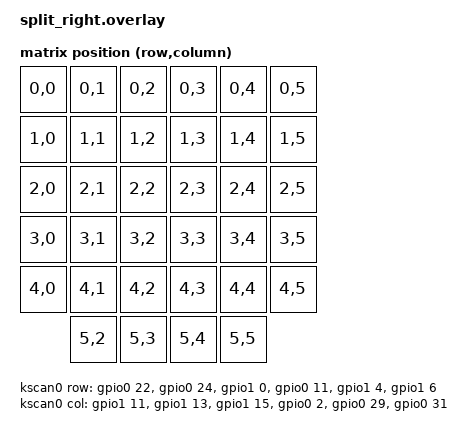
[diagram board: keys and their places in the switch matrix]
/ {
  chosen {
    zmk,kscan            = &kscan0;
    zmk,matrix-transform = &right_transform;
  };

  kscan0: kscan {
    compatible = "zmk,kscan-gpio-matrix";

    /* aceleași row/col ca la stânga */
    row-gpios = < &gpio0 22 &gpio0 24 &gpio1 0 &gpio0 11 &gpio1 4 &gpio1 6 >;
    col-gpios = < &gpio1 11 &gpio1 13 &gpio1 15 &gpio0 2 &gpio0 29 &gpio0 31 >;
    diode-direction     = COL2ROW;
    debounce-press-ms   = <1>;
    debounce-release-ms = <5>;
  };

  right_transform: matrix-transform {
    compatible = "zmk,matrix-transform";
    rows    = <6>;
    columns = <6>;
    map = <
      RC(0,0) RC(0,1) RC(0,2) RC(0,3) RC(0,4) RC(0,5)
      RC(1,0) RC(1,1) RC(1,2) RC(1,3) RC(1,4) RC(1,5)
      RC(2,0) RC(2,1) RC(2,2) RC(2,3) RC(2,4) RC(2,5)
      RC(3,0) RC(3,1) RC(3,2) RC(3,3) RC(3,4) RC(3,5)
      RC(4,0) RC(4,1) RC(4,2) RC(4,3) RC(4,4) RC(4,5)
              RC(5,2) RC(5,3) RC(5,4) RC(5,5)
    >;
  };
};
